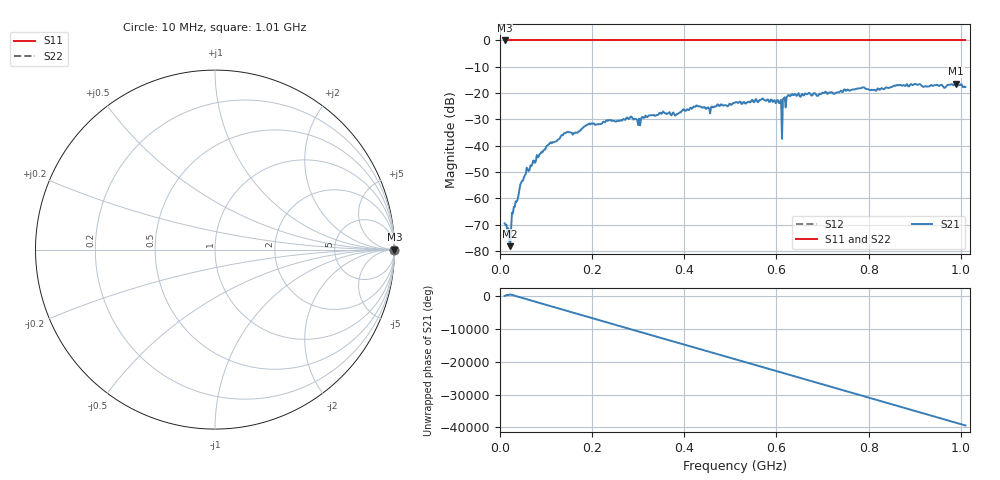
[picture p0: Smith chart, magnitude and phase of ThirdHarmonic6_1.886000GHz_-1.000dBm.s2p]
! 8/16/2025 10:46:56 PM
! C:\ANRITSUVNA\TEMP\TEMP.S2P
! CHANNEL.1
! TR.MEASUREMENT
! RAW.DATA
! RF.CORRECTION.OFF
! AVERAGING.OFF
! IF.BANDWIDTH: 5KHZ
! SWEEPTYPE:  FREQ.SWEEP(Linear)
! Reference Plane Port Info
! PORT:  PORT1  PORT2
! DISTANCE:  0  m  0  m
! TIME:  0  s  0  s
! PHASE.OFFSET:  0  deg.  0  deg.
! LOSS:  0  dB  0  dB
! REF.LOSS:  0  dB  0  dB
! REF.FREQ:  0  Hz  0  Hz
! Power Info
! POWER:  -20  dBm  -20  dBm
! EFF.POWER:  -20  dBm  -20  dBm
! SOURCE.ATTEN:  0  dB  0  dB
! TEST.ATTEN:  0  dB  0  dB
# GHZ S RI R 50.0
! FREQ.GHZ  S11RE  S11IM  S21RE  S21IM  S12RE  S12IM  S22RE  S22IM
!; PortSelection: Port_12
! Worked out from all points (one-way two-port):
!   501 points, 10 MHz to 1.01 GHz, reference 50 ohm
!   highest |S21| = -16.47 dB at 990 MHz (marker M1); lowest = -78.2 dB at 22 MHz (marker M2)
!   lowest |S11| = 0.0 dB at 10 MHz (marker M3)
!   |S11| at or under -10 dB: nowhere
!   |S22| runs from 0.0 to 0.0 dB; largest |S21 - S12| = 1.1
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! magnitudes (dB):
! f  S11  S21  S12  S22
! 10 MHz  0.0  -69.5  0.0  0.0
! 18 MHz  0.0  -71.4  0.0  0.0
! 22 MHz  0.0  -78.2  0.0  0.0
! 30 MHz  0.0  -63.2  0.0  0.0
! 46 MHz  0.0  -54.0  0.0  0.0
! 70 MHz  0.0  -47.2  0.0  0.0
! 106 MHz  0.0  -39.5  0.0  0.0
! 178 MHz  0.0  -33.5  0.0  0.0
! 236 MHz  0.0  -30.3  0.0  0.0
! 284 MHz  0.0  -28.9  0.0  0.0
! 302 MHz  0.0  -29.7  0.0  0.0
! 344 MHz  0.0  -28.2  0.0  0.0
! 510 MHz  0.0  -23.6  0.0  0.0
! 606 MHz  0.0  -23.9  0.0  0.0
! 608 MHz  0.0  -23.5  0.0  0.0
! 616 MHz  0.0  -22.0  0.0  0.0
! 618 MHz  0.0  -21.6  0.0  0.0
! 630 MHz  0.0  -21.2  0.0  0.0
! 678 MHz  0.0  -20.8  0.0  0.0
! 844 MHz  0.0  -18.0  0.0  0.0
! 990 MHz  0.0  -16.5  0.0  0.0
! 1.01 GHz  0.0  -17.7  0.0  0.0
